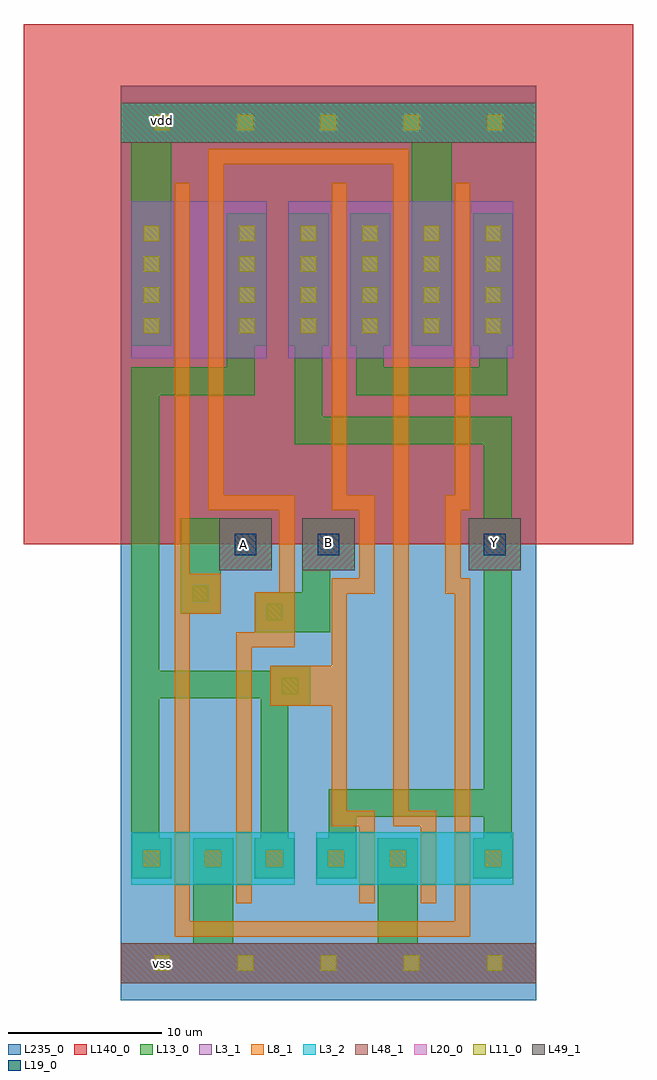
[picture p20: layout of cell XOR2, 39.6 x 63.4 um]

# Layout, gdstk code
import gdstk
lib = gdstk.Library(unit=1e-6, precision=1e-09)
def R(c, l, rs):  # rectangles x0, y0, x1, y1
    for r in rs: c.add(gdstk.rectangle(r[:2], r[2:], *l))
def A(c, l, x, y, w, h, nx, ny, dx, dy):  # array of equal rectangles
    R(c, l, [(x+i*dx, y+j*dy, x+i*dx+w, y+j*dy+h) for i in range(nx) for j in range(ny)])
def P(c, l, *ps):  # polygons
    for p in ps: c.add(gdstk.Polygon(p, *l))
L3_1 = (3, 1)
L3_2 = (3, 2)
L8_1 = (8, 1)
L11_0 = (11, 0)
L13_0 = (13, 0)
L19_0 = (19, 0)
L20_0 = (20, 0)
L48_1 = (48, 1)
L49_1 = (49, 1)
L140_0 = (140, 0)
L235_0 = (235, 0)

xor2 = lib.new_cell('XOR2')
R(xor2, L3_1, [(0,1.1,27,3.7), (0.7,41.7,9.5,51.9), (10.9,41.7,25.5,51.9)])
R(xor2, L3_2, [(0.7,7.5,11.3,10.9), (12.7,7.5,25.5,10.9), (0,55.7,27,58.3)])
P(xor2, L8_1, [(15.5,6.3),(15.5,11.3),(13.7,11.3),(13.7,19.1),(9.7,19.1),(9.7,21.7),(13.7,21.7),(13.7,27.4),(15.5,27.4),(15.5,31.8),(13.7,31.8),(13.7,53.1),(14.7,53.1),(14.7,32.8),(16.5,32.8),(16.5,26.4),(14.7,26.4),(14.7,12.3),(16.5,12.3),(16.5,6.3)],
  [(3.5,4.1),(3.5,53.1),(4.5,53.1),(4.5,27.7),(6.5,27.7),(6.5,25.1),(4.5,25.1),(4.5,5.1),(21.7,5.1),(21.7,26.4),(21.1,26.4),(21.1,32.8),(21.7,32.8),(21.7,53.1),(22.7,53.1),(22.7,31.8),(22.1,31.8),(22.1,27.4),(22.7,27.4),(22.7,4.1)],
  [(7.5,6.3),(7.5,23.9),(8.7,23.9),(8.7,26.5),(10.3,26.5),(10.3,31.8),(5.7,31.8),(5.7,55.3),(18.7,55.3),(18.7,12.3),(20.5,12.3),(20.5,6.3),(19.5,6.3),(19.5,11.3),(17.7,11.3),(17.7,54.3),(6.7,54.3),(6.7,32.8),(11.3,32.8),(11.3,22.9),(8.5,22.9),(8.5,6.3)])
A(xor2, L11_0, 2.2, 1.9, 1, 1, 5, 2, 5.4, 54.6)
A(xor2, L11_0, 1.5, 8.7, 1, 1, 5, 1, 4, 0)
A(xor2, L11_0, 1.5, 43.3, 1, 1, 1, 4, 0, 2)
A(xor2, L11_0, 7.7, 43.3, 1, 1, 5, 4, 4, 2)
R(xor2, L11_0, [(17.5,8.7,18.5,9.7), (23.7,8.7,24.7,9.7), (10.5,19.9,11.5,20.9), (9.5,24.7,10.5,25.7), (4.7,25.9,5.7,26.9)])
R(xor2, L13_0, [(0,1.1,27,3.7), (4.7,3.7,7.3,10.5), (16.7,3.7,19.3,10.5), (0.7,42.5,3.3,55.7), (18.9,42.5,21.5,55.7), (0,55.7,27,58.3)])
P(xor2, L13_0, [(3.9,25.1),(3.9,31.3),(9.8,31.3),(9.8,27.9),(6.5,27.9),(6.5,25.1)],
  [(8.7,23.9),(8.7,26.5),(11.8,26.5),(11.8,31.3),(15.2,31.3),(15.2,27.9),(13.6,27.9),(13.6,23.9)],
  [(0.7,7.9),(0.7,41.1),(6.9,41.1),(6.9,51.1),(9.5,51.1),(9.5,42.5),(8.7,42.5),(8.7,39.3),(2.5,39.3),(2.5,21.4),(9.7,21.4),(9.7,21.7),(12.3,21.7),(12.3,19.1),(10.9,19.1),(10.9,10.5),(11.3,10.5),(11.3,7.9),(8.7,7.9),(8.7,10.5),(9.1,10.5),(9.1,19.6),(2.5,19.6),(2.5,10.5),(3.3,10.5),(3.3,7.9)],
  [(12.7,7.9),(12.7,10.5),(13.5,10.5),(13.5,13.7),(23.6,13.7),(23.6,27.9),(22.6,27.9),(22.6,31.3),(23.6,31.3),(23.6,36.1),(11.3,36.1),(11.3,42.5),(10.9,42.5),(10.9,51.1),(13.5,51.1),(13.5,42.5),(13.1,42.5),(13.1,37.9),(25.4,37.9),(25.4,31.3),(26,31.3),(26,27.9),(25.4,27.9),(25.4,10.5),(25.5,10.5),(25.5,7.9),(22.9,7.9),(22.9,10.5),(23.6,10.5),(23.6,11.9),(15.3,11.9),(15.3,7.9)],
  [(15.3,39.3),(15.3,42.5),(14.9,42.5),(14.9,51.1),(17.5,51.1),(17.5,42.5),(17.1,42.5),(17.1,41.1),(23.3,41.1),(23.3,42.5),(22.9,42.5),(22.9,51.1),(25.5,51.1),(25.5,42.5),(25.1,42.5),(25.1,39.3)])
R(xor2, L19_0, [(7.4,28.9,8.8,30.3), (7.4,28.9,8.8,30.3), (7.4,28.9,8.8,30.3), (12.8,28.9,14.2,30.3), (12.8,28.9,14.2,30.3), (12.8,28.9,14.2,30.3), (12.8,28.9,14.2,30.3), (23.6,28.9,25,30.3), (23.6,28.9,25,30.3), (23.6,28.9,25,30.3), (23.6,28.9,25,30.3)])
R(xor2, L20_0, [(6.4,27.9,9.8,31.3), (6.4,27.9,9.8,31.3), (6.4,27.9,9.8,31.3), (11.8,27.9,15.2,31.3), (11.8,27.9,15.2,31.3), (11.8,27.9,15.2,31.3), (11.8,27.9,15.2,31.3), (22.6,27.9,26,31.3), (22.6,27.9,26,31.3), (22.6,27.9,26,31.3), (22.6,27.9,26,31.3)])
R(xor2, L48_1, [(0,1.1,27,3.7), (0,55.7,27,58.3)])
R(xor2, L49_1, [(6.4,27.9,9.8,31.3), (11.8,27.9,15.2,31.3), (22.6,27.9,26,31.3)])
R(xor2, L140_0, [(-6.3,29.6,33.3,63.4)])
R(xor2, L235_0, [(0,0,27,59.4)])
xor2.add(gdstk.Label('A', (8,29.6), layer=49, texttype=0))
xor2.add(gdstk.Label('B', (13.5,29.7), layer=49, texttype=0))
xor2.add(gdstk.Label('Y', (24.3,29.7), layer=49, texttype=0))
xor2.add(gdstk.Label('vss', (2.7,2.4), layer=48, texttype=0))
xor2.add(gdstk.Label('vdd', (2.7,57.1), layer=48, texttype=0))

lib.write_gds('XOR2.gds')
